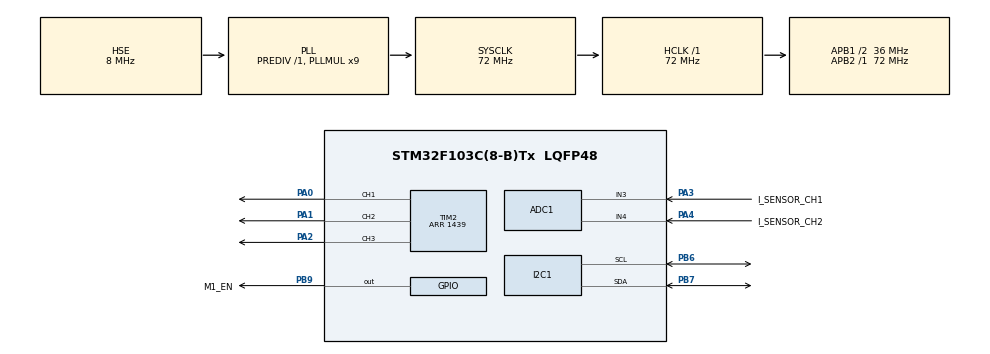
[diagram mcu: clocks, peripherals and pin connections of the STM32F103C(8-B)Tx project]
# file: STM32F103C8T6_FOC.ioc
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ADC1.Channel-0\#ChannelRegularConversion=ADC_CHANNEL_3
ADC1.NbrOfConversionFlag=1
ADC1.Rank-0\#ChannelRegularConversion=1
ADC1.SamplingTime-0\#ChannelRegularConversion=ADC_SAMPLETIME_1CYCLE_5
ADC1.master=1
I2C1.I2C_Mode=I2C_Fast
Mcu.Family=STM32F1
Mcu.Name=STM32F103C(8-B)Tx
Mcu.Package=LQFP48
NVIC.PriorityGroup=NVIC_PRIORITYGROUP_4
PA0-WKUP.Signal=S_TIM2_CH1_ETR
PA1.Signal=S_TIM2_CH2
PA13.Mode=Trace_Asynchronous_SW
PA13.Signal=SYS_JTMS-SWDIO
PA14.Mode=Trace_Asynchronous_SW
PA14.Signal=SYS_JTCK-SWCLK
PA2.Signal=S_TIM2_CH3
PA3.GPIO_Label=I_SENSOR_CH1
PA3.Signal=ADCx_IN3
PA4.GPIO_Label=I_SENSOR_CH2
PA4.Signal=ADCx_IN4
PB3.Mode=Trace_Asynchronous_SW
PB3.Signal=SYS_JTDO-TRACESWO
PB6.Mode=I2C
PB6.Signal=I2C1_SCL
PB7.Mode=I2C
PB7.Signal=I2C1_SDA
PB9.GPIO_Label=M1_EN
PB9.Signal=GPIO_Output
PD0-OSC_IN.Mode=HSE-External-Oscillator
PD0-OSC_IN.Signal=RCC_OSC_IN
PD1-OSC_OUT.Mode=HSE-External-Oscillator
PD1-OSC_OUT.Signal=RCC_OSC_OUT
ProjectManager.HeapSize=0x200
ProjectManager.StackSize=0x400
ProjectManager.TargetToolchain=STM32CubeIDE
RCC.ADCPresc=RCC_ADCPCLK2_DIV6
RCC.AHBFreq_Value=72000000
RCC.APB1CLKDivider=RCC_HCLK_DIV2
RCC.APB1Freq_Value=36000000
RCC.APB1TimFreq_Value=72000000
RCC.APB2Freq_Value=72000000
RCC.APB2TimFreq_Value=72000000
RCC.HCLKFreq_Value=72000000
RCC.PLLMUL=RCC_PLL_MUL9
RCC.PLLSourceVirtual=RCC_PLLSOURCE_HSE
RCC.SYSCLKFreq_VALUE=72000000
RCC.SYSCLKSource=RCC_SYSCLKSOURCE_PLLCLK
RCC.USBFreq_Value=72000000
SH.ADCx_IN3.0=ADC1_IN3,IN3
SH.ADCx_IN4.0=ADC1_IN4,IN4
SH.S_TIM2_CH1_ETR.0=TIM2_CH1,PWM Generation1 CH1
SH.S_TIM2_CH2.0=TIM2_CH2,PWM Generation2 CH2
SH.S_TIM2_CH3.0=TIM2_CH3,PWM Generation3 CH3
TIM2.Channel-PWM\ Generation1\ CH1=TIM_CHANNEL_1
TIM2.Channel-PWM\ Generation2\ CH2=TIM_CHANNEL_2
TIM2.Channel-PWM\ Generation3\ CH3=TIM_CHANNEL_3
TIM2.CounterMode=TIM_COUNTERMODE_CENTERALIGNED1
TIM2.Period=1439
VP_TIM2_VS_ClockSourceINT.Mode=Internal
board=custom

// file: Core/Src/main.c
/* USER CODE BEGIN Header */
/**
 ******************************************************************************
 * @file           : main.c
 * @brief          : Main program body
 ******************************************************************************
 * @attention
 *
 * Copyright (c) 2025 STMicroelectronics.
 * All rights reserved.
 *
 * This software is licensed under terms that can be found in the LICENSE file
 * in the root directory of this software component.
 * If no LICENSE file comes with this software, it is provided AS-IS.
 *
 ******************************************************************************
 */
/* USER CODE END Header */
#include "main.h"

/* USER CODE BEGIN Includes */
#include "adc.h"
#include "foc.h"
#include "ina181ax.h"
#include "as5600.h"
/* USER CODE END Includes */

/* USER CODE BEGIN PD */
#define R_SHUNT 0.001f
#define ADC_MAX_VALUE 4095
#define PWM_Period 4e-5;

#define DEFALUT_POSITION_PID_KP 100
#define DEFALUT_POSITION_PID_KI 0.01f
#define DEFALUT_POSITION_PID_KD 0.1f
#define DEFALUT_POSITIOM_PID_OUT_MAX 30

#define DEFALUT_SPEED_PID_KP 0.02f
#define DEFALUT_SPEED_PID_KI 0.1f
#define DEFALUT_SPEED_PID_KD 0.0f
#define DEFALUT_SPEED_PID_OUT_MAX 5

#define DEFALUT_IQ_PID_KP 1.2f
#define DEFALUT_IQ_PID_KI 3.5f
#define DEFALUT_IQ_PID_KD 0.0f
#define DEFALUT_IQ_PID_OUT_MAX 6

#define DEFALUT_ID_PID_KP 0.2f
#define DEFALUT_ID_PID_KI 0.2f
#define DEFALUT_ID_PID_KD 0.0f
#define DEFALUT_ID_PID_OUT_MAX 6

#define DEFAULT_IQ_LPF_TS 0.2f
#define DEFAULT_ID_LPF_TS 0.2f
#define DEFAULT_SPEED_LPF_TS 0.02f

#define FOC_MODE_ANGLE_OPENLOOP
//#define FOC_MODE_ANGLE_CLOSEDLOOP
//#define FOC_MODE_VELOCITY_OPENLOOP
//#define FOC_MODE_VELOCITY_CLOSEDLOOP
//#define FOC_MODE_CURRENT_CONTROL

//#define PHASE_AUTO_DETECT

/* USER CODE END PD */

ADC_HandleTypeDef hadc1;

I2C_HandleTypeDef hi2c1;

TIM_HandleTypeDef htim2;

/* USER CODE BEGIN PV */
ADC_Config_TypeDef adc1;
ADC_Config_TypeDef adc2;

/* USER CODE END PV */

void SystemClock_Config(void);
static void MX_GPIO_Init(void);
static void MX_ADC1_Init(void);
static void MX_I2C1_Init(void);
static void MX_TIM2_Init(void);

/* USER CODE BEGIN 0 */

INA181AX_TypeDef ina181ax_m1_ch1, ina181ax_m1_ch2;
AS5600_TypeDef as5600;

FOC_Instance foc;

float angle;
float i_val[2];

uint64_t micros64(void)
{
    static uint32_t last_cycle = 0;
    static uint64_t micros_accum = 0;

    uint32_t current_cycle = DWT->CYCCNT;
    uint32_t cycle_delta = current_cycle - last_cycle;
    last_cycle = current_cycle;

    micros_accum += (uint64_t)cycle_delta / (SystemCoreClock / 1000000UL);
    return micros_accum;
}
void dwt_init(void)
{
    CoreDebug->DEMCR |= CoreDebug_DEMCR_TRCENA_Msk; // 使能 DWT 模块
    DWT->CYCCNT = 0;                                // 复位计数器
    DWT->CTRL |= DWT_CTRL_CYCCNTENA_Msk;            // 启用 CYCCNT
}
/**
 * @brief 设置 PWM 占空比
 * @param htim         定时器句柄指针（例如 &htim1）
 * @param channel      通道（例如 TIM_CHANNEL_1）
 * @param duty_cycle   占空比（范围：0.0f ~ 1.0f）
 */
void pwm_set_duty(TIM_HandleTypeDef *htim, uint32_t channel, float duty_cycle)
{
    if (htim == NULL || duty_cycle < 0.0f || duty_cycle > 1.0f)
        return;

    // 获取当前计数器周期（Period）
    uint32_t period = __HAL_TIM_GET_AUTORELOAD(htim);

    // 计算新的占空比（Pulse）
    uint32_t pulse = (uint32_t)(duty_cycle * (float)(period + 1));

    // 设置比较值（即占空比）
    __HAL_TIM_SET_COMPARE(htim, channel, pulse);
}

void set_pwm(float ch1,float ch2,float ch3){
	pwm_set_duty(&htim2, TIM_CHANNEL_1, ch1);
	pwm_set_duty(&htim2, TIM_CHANNEL_2, ch2);
	pwm_set_duty(&htim2, TIM_CHANNEL_3, ch3);
}
float read_angle(){
	return as5600_read_angle_rad(&as5600);
}
void read_currents(float *i1,float *i2){
	float i2_raw;
	ina181ax_read_current(&ina181ax_m1_ch1, i1);
	ina181ax_read_current(&ina181ax_m1_ch2, &i2_raw);
	*i2 = -i2_raw;
}

// 相序检测函数，不准确，尚不可用
//FOC_Status foc_auto_detect_phase_order(FOC_Instance *user_foc)
//{
//    printf("Phase order auto-detection started...\r\n");
//
//    Motor_Phase phase_orders[6][3] = {
//        {FOC_PHASE_A, FOC_PHASE_B, FOC_PHASE_C},
//        {FOC_PHASE_A, FOC_PHASE_C, FOC_PHASE_B},
//        {FOC_PHASE_B, FOC_PHASE_A, FOC_PHASE_C},
//        {FOC_PHASE_B, FOC_PHASE_C, FOC_PHASE_A},
//        {FOC_PHASE_C, FOC_PHASE_A, FOC_PHASE_B},
//        {FOC_PHASE_C, FOC_PHASE_B, FOC_PHASE_A}};
//    const char *phase_names[6] = {"ABC", "ACB", "BAC", "BCA", "CAB", "CBA"};
//
//    float best_score = -1.0f;
//    int best_index = -1;
//
//    for (int i = 0; i < 6; i++)
//    {
//        printf("Testing order: %s\r\n", phase_names[i]);
//
//        FOC_Instance foc = *user_foc;
//        foc_set_phase(&foc, phase_orders[i][0], phase_orders[i][1], phase_orders[i][2]);
//
//        foc.cfg.mode = FOC_Mode_Velocity_Openloop;
//        foc.cfg.zero_electric_angle = 0.0f;
//        foc.cfg.mode_params.vel_open.uq_openloop = 1.5f;
//        foc.cfg.mode_params.vel_open.target_speed_rad_per_sec = 1.0f;
//
//        foc_calibrate_zero_electric_angle(&foc);
//
//        // 步骤一：检测旋转方向
//        float angle_start = unwrap_angle(foc.cfg.angle_sensor_direction * foc.cfg.callbacks.read_angle(), &foc.state);
//        float angle_last = angle_start;
//        float delta_angle_sum = 0.0f;
//
//        for (int j = 0; j < 300; j++)
//        {
//            foc_run(&foc);
//            foc_delay_ms(foc.cfg.get_micros, 1);
//            float angle_now = unwrap_angle(foc.cfg.angle_sensor_direction * foc.cfg.callbacks.read_angle(), &foc.state);
//            delta_angle_sum += angle_now - angle_last;
//            angle_last = angle_now;
//        }
//
//        bool is_forward = (delta_angle_sum > 0.2f);
//        printf(" -> Net=%.2f rad, Dir=%s\r\n", delta_angle_sum, is_forward ? "FWD" : "REV");
//
//        if (!is_forward)
//        {
//            printf(" -> Skipped: reverse direction.\r\n");
//            continue;
//        }
//
//        // 步骤二：速度闭环电流幅值评分
//        foc.cfg.mode = FOC_Mode_Velocity_Closedloop;
//        foc.cfg.mode_params.vel_closed.target_speed_rad_per_sec = 2.0f;
//        pid_init(&foc.cfg.speed_pid_controller,
//         user_foc->cfg.mode_params.vel_closed.speed_pid.kp,
//         user_foc->cfg.mode_params.vel_closed.speed_pid.ki,
//         user_foc->cfg.mode_params.vel_closed.speed_pid.kd,
//         -user_foc->cfg.mode_params.vel_closed.speed_pid.out_max,
//         user_foc->cfg.mode_params.vel_closed.speed_pid.out_max,
//         foc.cfg.get_micros);
//pid_init(&foc.cfg.iq_pid_controller,
//         user_foc->cfg.mode_params.vel_closed.iq_pid.kp,
//         user_foc->cfg.mode_params.vel_closed.iq_pid.ki,
//         user_foc->cfg.mode_params.vel_closed.iq_pid.kd,
//         -user_foc->cfg.mode_params.vel_closed.iq_pid.out_max,
//         user_foc->cfg.mode_params.vel_closed.iq_pid.out_max,
//         foc.cfg.get_micros);
//pid_init(&foc.cfg.id_pid_controller,
//         user_foc->cfg.mode_params.vel_closed.id_pid.kp,
//         user_foc->cfg.mode_params.vel_closed.id_pid.ki,
//         user_foc->cfg.mode_params.vel_closed.id_pid.kd,
//         -user_foc->cfg.mode_params.vel_closed.id_pid.out_max,
//         user_foc->cfg.mode_params.vel_closed.id_pid.out_max,
//         foc.cfg.get_micros);
//
//        float current_sum = 0.0f;
//        for (int j = 0; j < 200; j++)
//        {
//            foc_run(&foc);
//            foc_delay_ms(foc.cfg.get_micros, 1);
//            float i_mag = fabsf(foc.state.ia) + fabsf(foc.state.ib) + fabsf(foc.state.ic);
//            current_sum += i_mag;
//        }
//
//        float current_avg = current_sum / 200.0f;
//        float score = 1.0f / (current_avg + 0.01f);
//
//        printf(" -> I_avg=%.2f A, Score=%.2f\r\n", current_avg, score);
//
//        if (score > best_score)
//        {
//            best_score = score;
//            best_index = i;
//        }
//    }
//
//    if (best_index >= 0)
//    {
//        foc_set_phase(user_foc,
//                      phase_orders[best_index][0],
//                      phase_orders[best_index][1],
//                      phase_orders[best_index][2]);
//        printf("Best order: %s (Score=%.2f)\r\n", phase_names[best_index], best_score);
//        return FOC_OK;
//    }
//    else
//    {
//        printf("Phase order detection failed!\r\n");
//        return FOC_ERR;
//    }
//}

void main_init(){
	HAL_TIM_PWM_Start(&htim2, TIM_CHANNEL_1);
	HAL_TIM_PWM_Start(&htim2, TIM_CHANNEL_2);
	HAL_TIM_PWM_Start(&htim2, TIM_CHANNEL_3);

	HAL_GPIO_WritePin(M1_EN_GPIO_Port, M1_EN_Pin, GPIO_PIN_SET);

	dwt_init();

	adc_init(&adc1, &hadc1, ADC_CHANNEL_3, ADC_MAX_VALUE,
					ADC_SAMPLETIME_13CYCLES_5);
	adc_init(&adc2, &hadc1, ADC_CHANNEL_4, ADC_MAX_VALUE,
					ADC_SAMPLETIME_13CYCLES_5);

	ina181ax_init(&ina181ax_m1_ch1, R_SHUNT, 3.3f, INA181A2,
	I_SENSOR_CH1_GPIO_Port, I_SENSOR_CH1_Pin, &adc1);
	ina181ax_init(&ina181ax_m1_ch2, R_SHUNT, 3.3f, INA181A2,
	I_SENSOR_CH2_GPIO_Port, I_SENSOR_CH2_Pin, &adc2);

	as5600_init(&as5600, &hi2c1, 0x36, AS5600_CW);

	FOC_InitConfig init_cfg={0};
	init_cfg.angle_sensor_direction = FOC_Direction_CW;
	init_cfg.phase_ch1 = FOC_PHASE_A;
	init_cfg.phase_ch2 = FOC_PHASE_B;
	init_cfg.phase_ch3 = FOC_PHASE_C;

	init_cfg.pole_pairs = 7;
	init_cfg.pwm_period = PWM_Period;
	init_cfg.read_angle = read_angle;
	init_cfg.read_mode = READ_CURRENTS_2_PHASE;
	init_cfg.read_currents_2 = read_currents;
	init_cfg.set_pwm = set_pwm;
	init_cfg.v_dc = 12.0f;

	init_cfg.get_micros = micros64;

#ifdef FOC_MODE_ANGLE_OPENLOOP

	init_cfg.mode = FOC_Mode_Angle_Openloop;
	init_cfg.mode_params.angle_open.uq_openloop = 1.5f;

#elif defined(FOC_MODE_ANGLE_CLOSEDLOOP)

	init_cfg.mode = FOC_Mode_Angle_Closedloop;
	init_cfg.mode_params.angle_closed.target_position_deg = 0.0f;
	init_cfg.mode_params.angle_closed.angle_closedloop_kv = 0.1f;

	init_cfg.mode_params.angle_closed.position_pid.kp = DEFALUT_POSITION_PID_KP;
	init_cfg.mode_params.angle_closed.position_pid.ki = DEFALUT_POSITION_PID_KI;
	init_cfg.mode_params.angle_closed.position_pid.kd = DEFALUT_POSITION_PID_KD;
	init_cfg.mode_params.angle_closed.position_pid.out_max = DEFALUT_POSITIOM_PID_OUT_MAX;

	init_cfg.mode_params.angle_closed.speed_pid.kp = DEFALUT_SPEED_PID_KP;
	init_cfg.mode_params.angle_closed.speed_pid.ki = DEFALUT_SPEED_PID_KI;
	init_cfg.mode_params.angle_closed.speed_pid.kd = DEFALUT_SPEED_PID_KD;
	init_cfg.mode_params.angle_closed.speed_pid.out_max = DEFALUT_SPEED_PID_OUT_MAX;

	init_cfg.mode_params.angle_closed.iq_pid.kp = DEFALUT_IQ_PID_KP;
	init_cfg.mode_params.angle_closed.iq_pid.ki = DEFALUT_IQ_PID_KI;
	init_cfg.mode_params.angle_closed.iq_pid.kd = DEFALUT_IQ_PID_KD;
	init_cfg.mode_params.angle_closed.iq_pid.out_max = DEFALUT_IQ_PID_OUT_MAX;

	init_cfg.mode_params.angle_closed.id_pid.kp = DEFALUT_ID_PID_KP;
	init_cfg.mode_params.angle_closed.id_pid.ki = DEFALUT_ID_PID_KI;
	init_cfg.mode_params.angle_closed.id_pid.kd = DEFALUT_ID_PID_KD;
	init_cfg.mode_params.angle_closed.id_pid.out_max = DEFALUT_ID_PID_OUT_MAX;

	init_cfg.mode_params.angle_closed.lpf_iq_ts = DEFAULT_IQ_LPF_TS;
	init_cfg.mode_params.angle_closed.lpf_id_ts = DEFAULT_ID_LPF_TS;

#elif defined(FOC_MODE_VELOCITY_OPENLOOP)
	init_cfg.mode = FOC_Mode_Velocity_Openloop;
	init_cfg.mode_params.vel_open.uq_openloop = 3.0f;
	init_cfg.mode_params.vel_open.target_speed_rad_per_sec = 50.0f;
#elif defined(FOC_MODE_VELOCITY_CLOSEDLOOP)
	init_cfg.mode = FOC_Mode_Velocity_Closedloop;
	init_cfg.mode_params.vel_closed.target_speed_rad_per_sec = 50.0f;

	init_cfg.mode_params.vel_closed.speed_pid.kp = DEFALUT_SPEED_PID_KP;
	init_cfg.mode_params.vel_closed.speed_pid.ki = DEFALUT_SPEED_PID_KI;
	init_cfg.mode_params.vel_closed.speed_pid.kd = DEFALUT_SPEED_PID_KD;
	init_cfg.mode_params.vel_closed.speed_pid.out_max = DEFALUT_SPEED_PID_OUT_MAX;

	init_cfg.mode_params.vel_closed.iq_pid.kp = DEFALUT_IQ_PID_KP;
	init_cfg.mode_params.vel_closed.iq_pid.ki = DEFALUT_IQ_PID_KI;
	init_cfg.mode_params.vel_closed.iq_pid.kd = DEFALUT_IQ_PID_KD;
	init_cfg.mode_params.vel_closed.iq_pid.out_max = DEFALUT_IQ_PID_OUT_MAX;

	init_cfg.mode_params.vel_closed.id_pid.kp = DEFALUT_ID_PID_KP;
	init_cfg.mode_params.vel_closed.id_pid.ki = DEFALUT_ID_PID_KI;
	init_cfg.mode_params.vel_closed.id_pid.kd = DEFALUT_ID_PID_KD;
	init_cfg.mode_params.vel_closed.id_pid.out_max = DEFALUT_ID_PID_OUT_MAX;

	init_cfg.mode_params.vel_closed.lpf_iq_ts = DEFAULT_IQ_LPF_TS;
	init_cfg.mode_params.vel_closed.lpf_id_ts = DEFAULT_ID_LPF_TS;
#elif defined(FOC_MODE_CURRENT_CONTROL)
	init_cfg.mode = FOC_Mode_Current_Control;
	init_cfg.mode_params.current.target_id = 0.0f;
	init_cfg.mode_params.current.target_iq = 0.2f;

	init_cfg.mode_params.current.iq_pid.kp = DEFALUT_IQ_PID_KP;
	init_cfg.mode_params.current.iq_pid.ki = DEFALUT_IQ_PID_KI;
	init_cfg.mode_params.current.iq_pid.kd = DEFALUT_IQ_PID_KD;
	init_cfg.mode_params.current.iq_pid.out_max = DEFALUT_IQ_PID_OUT_MAX;

	init_cfg.mode_params.current.id_pid.kp = DEFALUT_ID_PID_KP;
	init_cfg.mode_params.current.id_pid.ki = DEFALUT_ID_PID_KI;
	init_cfg.mode_params.current.id_pid.kd = DEFALUT_ID_PID_KD;
	init_cfg.mode_params.current.id_pid.out_max = DEFALUT_ID_PID_OUT_MAX;
#endif
	init_cfg.mode_params.angle_open.lpf_speed_ts = DEFAULT_SPEED_LPF_TS;

	foc_init(&foc, &init_cfg);

#ifdef PHASE_AUTO_DETECT
	foc_auto_detect_phase_order(&foc);
#endif
}
/* USER CODE END 0 */

int main(void)
{

  /* MCU Configuration--------------------------------------------------------*/

  /* Reset of all peripherals, Initializes the Flash interface and the Systick. */
  HAL_Init();

  /* Configure the system clock */
  SystemClock_Config();

  /* Initialize all configured peripherals */
  MX_GPIO_Init();
  MX_ADC1_Init();
  MX_I2C1_Init();
  MX_TIM2_Init();
  /* USER CODE BEGIN 2 */
	main_init();

  /* USER CODE END 2 */

  /* Infinite loop */
	while (1) {

    /* USER CODE BEGIN 3 */
#ifdef FOC_MODE_ANGLE_OPENLOOP
		static float target_angle = 0.0f;
		target_angle += 0.5f;  // 每循环增加0.5度（调整此值改变速度）
		if (target_angle >= 360.0f) target_angle = 0.0f;
		foc.cfg.mode_params.angle_open.target_position_deg = target_angle;  // 更新目标角度
		foc_run(&foc);                                // 运行FOC计算
		HAL_Delay(10);                                // 控制更新速率
#elif defined(FOC_MODE_ANGLE_CLOSEDLOOP)
		static uint64_t count = 0;
		count++;
		if(count== 10000){
			count = 0;
			foc.cfg.mode_params.angle_closed.target_position_deg += 60.0f;
			if(foc.cfg.mode_params.angle_closed.target_position_deg >= 360.0f)
				foc.cfg.mode_params.angle_closed.target_position_deg = 0.0f;
		}
		foc_run(&foc);                                // 运行FOC计算
#elif defined(FOC_MODE_VELOCITY_OPENLOOP)
		foc_run(&foc);                                // 运行FOC计算
#elif defined(FOC_MODE_VELOCITY_CLOSEDLOOP)
		foc_run(&foc);                                // 运行FOC计算
#elif defined(FOC_MODE_CURRENT_CONTROL)
		foc_run(&foc);                                // 运行FOC计算
#endif
	}
  /* USER CODE END 3 */
}

void SystemClock_Config(void)
{
  RCC_OscInitTypeDef RCC_OscInitStruct = {0};
  RCC_ClkInitTypeDef RCC_ClkInitStruct = {0};
  RCC_PeriphCLKInitTypeDef PeriphClkInit = {0};

  /** Initializes the RCC Oscillators according to the specified parameters
  * in the RCC_OscInitTypeDef structure.
  */
  RCC_OscInitStruct.OscillatorType = RCC_OSCILLATORTYPE_HSE;
  RCC_OscInitStruct.HSEState = RCC_HSE_ON;
  RCC_OscInitStruct.HSEPredivValue = RCC_HSE_PREDIV_DIV1;
  RCC_OscInitStruct.HSIState = RCC_HSI_ON;
  RCC_OscInitStruct.PLL.PLLState = RCC_PLL_ON;
  RCC_OscInitStruct.PLL.PLLSource = RCC_PLLSOURCE_HSE;
  RCC_OscInitStruct.PLL.PLLMUL = RCC_PLL_MUL9;
  if (HAL_RCC_OscConfig(&RCC_OscInitStruct) != HAL_OK)
  {
    Error_Handler();
  }

  /** Initializes the CPU, AHB and APB buses clocks
  */
  RCC_ClkInitStruct.ClockType = RCC_CLOCKTYPE_HCLK|RCC_CLOCKTYPE_SYSCLK
                              |RCC_CLOCKTYPE_PCLK1|RCC_CLOCKTYPE_PCLK2;
  RCC_ClkInitStruct.SYSCLKSource = RCC_SYSCLKSOURCE_PLLCLK;
  RCC_ClkInitStruct.AHBCLKDivider = RCC_SYSCLK_DIV1;
  RCC_ClkInitStruct.APB1CLKDivider = RCC_HCLK_DIV2;
  RCC_ClkInitStruct.APB2CLKDivider = RCC_HCLK_DIV1;

  if (HAL_RCC_ClockConfig(&RCC_ClkInitStruct, FLASH_LATENCY_2) != HAL_OK)
  {
    Error_Handler();
  }
  PeriphClkInit.PeriphClockSelection = RCC_PERIPHCLK_ADC;
  PeriphClkInit.AdcClockSelection = RCC_ADCPCLK2_DIV6;
  if (HAL_RCCEx_PeriphCLKConfig(&PeriphClkInit) != HAL_OK)
  {
    Error_Handler();
  }
}

static void MX_ADC1_Init(void)
{

  ADC_ChannelConfTypeDef sConfig = {0};

  /** Common config
  */
  hadc1.Instance = ADC1;
  hadc1.Init.ScanConvMode = ADC_SCAN_DISABLE;
  hadc1.Init.ContinuousConvMode = DISABLE;
  hadc1.Init.DiscontinuousConvMode = DISABLE;
  hadc1.Init.ExternalTrigConv = ADC_SOFTWARE_START;
  hadc1.Init.DataAlign = ADC_DATAALIGN_RIGHT;
  hadc1.Init.NbrOfConversion = 1;
  if (HAL_ADC_Init(&hadc1) != HAL_OK)
  {
    Error_Handler();
  }

  /** Configure Regular Channel
  */
  sConfig.Channel = ADC_CHANNEL_3;
  sConfig.Rank = ADC_REGULAR_RANK_1;
  sConfig.SamplingTime = ADC_SAMPLETIME_1CYCLE_5;
  if (HAL_ADC_ConfigChannel(&hadc1, &sConfig) != HAL_OK)
  {
    Error_Handler();
  }

}

static void MX_I2C1_Init(void)
{

  hi2c1.Instance = I2C1;
  hi2c1.Init.ClockSpeed = 400000;
  hi2c1.Init.DutyCycle = I2C_DUTYCYCLE_2;
  hi2c1.Init.OwnAddress1 = 0;
  hi2c1.Init.AddressingMode = I2C_ADDRESSINGMODE_7BIT;
  hi2c1.Init.DualAddressMode = I2C_DUALADDRESS_DISABLE;
  hi2c1.Init.OwnAddress2 = 0;
  hi2c1.Init.GeneralCallMode = I2C_GENERALCALL_DISABLE;
  hi2c1.Init.NoStretchMode = I2C_NOSTRETCH_DISABLE;
  if (HAL_I2C_Init(&hi2c1) != HAL_OK)
  {
    Error_Handler();
  }

}

static void MX_TIM2_Init(void)
{

  TIM_ClockConfigTypeDef sClockSourceConfig = {0};
  TIM_MasterConfigTypeDef sMasterConfig = {0};
  TIM_OC_InitTypeDef sConfigOC = {0};

  htim2.Instance = TIM2;
  htim2.Init.Prescaler = 0;
  htim2.Init.CounterMode = TIM_COUNTERMODE_CENTERALIGNED1;
  htim2.Init.Period = 1439;
  htim2.Init.ClockDivision = TIM_CLOCKDIVISION_DIV1;
  htim2.Init.AutoReloadPreload = TIM_AUTORELOAD_PRELOAD_DISABLE;
  if (HAL_TIM_Base_Init(&htim2) != HAL_OK)
  {
    Error_Handler();
  }
  sClockSourceConfig.ClockSource = TIM_CLOCKSOURCE_INTERNAL;
  if (HAL_TIM_ConfigClockSource(&htim2, &sClockSourceConfig) != HAL_OK)
  {
    Error_Handler();
  }
  if (HAL_TIM_PWM_Init(&htim2) != HAL_OK)
  {
    Error_Handler();
  }
  sMasterConfig.MasterOutputTrigger = TIM_TRGO_RESET;
  sMasterConfig.MasterSlaveMode = TIM_MASTERSLAVEMODE_DISABLE;
  if (HAL_TIMEx_MasterConfigSynchronization(&htim2, &sMasterConfig) != HAL_OK)
  {
    Error_Handler();
  }
  sConfigOC.OCMode = TIM_OCMODE_PWM1;
  sConfigOC.Pulse = 0;
  sConfigOC.OCPolarity = TIM_OCPOLARITY_HIGH;
  sConfigOC.OCFastMode = TIM_OCFAST_DISABLE;
  if (HAL_TIM_PWM_ConfigChannel(&htim2, &sConfigOC, TIM_CHANNEL_1) != HAL_OK)
  {
    Error_Handler();
  }
  if (HAL_TIM_PWM_ConfigChannel(&htim2, &sConfigOC, TIM_CHANNEL_2) != HAL_OK)
  {
    Error_Handler();
  }
  if (HAL_TIM_PWM_ConfigChannel(&htim2, &sConfigOC, TIM_CHANNEL_3) != HAL_OK)
  {
    Error_Handler();
  }
  HAL_TIM_MspPostInit(&htim2);

}

static void MX_GPIO_Init(void)
{
  GPIO_InitTypeDef GPIO_InitStruct = {0};

  /* GPIO Ports Clock Enable */
  __HAL_RCC_GPIOD_CLK_ENABLE();
  __HAL_RCC_GPIOA_CLK_ENABLE();
  __HAL_RCC_GPIOB_CLK_ENABLE();

  /*Configure GPIO pin Output Level */
  HAL_GPIO_WritePin(M1_EN_GPIO_Port, M1_EN_Pin, GPIO_PIN_RESET);

  /*Configure GPIO pin : M1_EN_Pin */
  GPIO_InitStruct.Pin = M1_EN_Pin;
  GPIO_InitStruct.Mode = GPIO_MODE_OUTPUT_PP;
  GPIO_InitStruct.Pull = GPIO_NOPULL;
  GPIO_InitStruct.Speed = GPIO_SPEED_FREQ_LOW;
  HAL_GPIO_Init(M1_EN_GPIO_Port, &GPIO_InitStruct);

}

void Error_Handler(void)
{
	__disable_irq();
	while (1) {
	}
}
